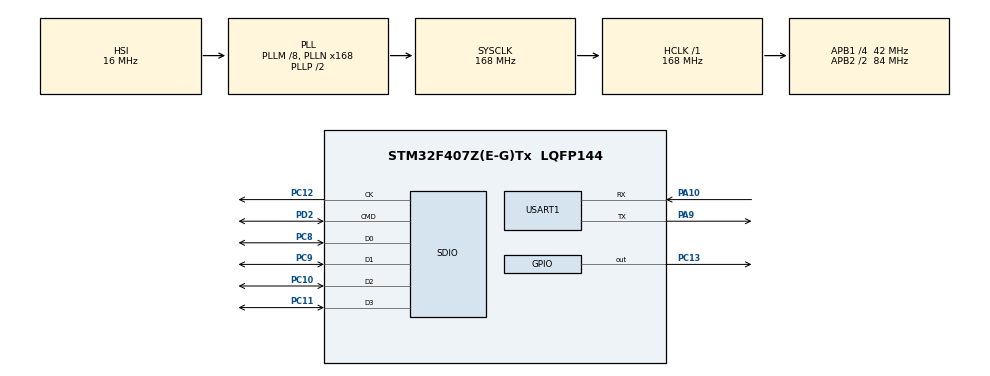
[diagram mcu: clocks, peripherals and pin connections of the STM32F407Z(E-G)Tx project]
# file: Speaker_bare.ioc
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Dma.Request0=USART1_RX
Dma.Request1=USART1_TX
Dma.Request2=SDIO_RX
Dma.Request3=SDIO_TX
Dma.SDIO_RX.2.Direction=DMA_PERIPH_TO_MEMORY
Dma.SDIO_RX.2.FIFOMode=DMA_FIFOMODE_ENABLE
Dma.SDIO_RX.2.FIFOThreshold=DMA_FIFO_THRESHOLD_FULL
Dma.SDIO_RX.2.Instance=DMA2_Stream3
Dma.SDIO_RX.2.MemBurst=DMA_MBURST_INC4
Dma.SDIO_RX.2.MemDataAlignment=DMA_MDATAALIGN_WORD
Dma.SDIO_RX.2.MemInc=DMA_MINC_ENABLE
Dma.SDIO_RX.2.Mode=DMA_PFCTRL
Dma.SDIO_RX.2.PeriphBurst=DMA_PBURST_INC4
Dma.SDIO_RX.2.PeriphDataAlignment=DMA_PDATAALIGN_WORD
Dma.SDIO_RX.2.PeriphInc=DMA_PINC_DISABLE
Dma.SDIO_RX.2.Priority=DMA_PRIORITY_LOW
Dma.SDIO_TX.3.Direction=DMA_MEMORY_TO_PERIPH
Dma.SDIO_TX.3.FIFOMode=DMA_FIFOMODE_ENABLE
Dma.SDIO_TX.3.FIFOThreshold=DMA_FIFO_THRESHOLD_FULL
Dma.SDIO_TX.3.Instance=DMA2_Stream6
Dma.SDIO_TX.3.MemBurst=DMA_MBURST_INC4
Dma.SDIO_TX.3.MemDataAlignment=DMA_MDATAALIGN_WORD
Dma.SDIO_TX.3.MemInc=DMA_MINC_ENABLE
Dma.SDIO_TX.3.Mode=DMA_PFCTRL
Dma.SDIO_TX.3.PeriphBurst=DMA_PBURST_INC4
Dma.SDIO_TX.3.PeriphDataAlignment=DMA_PDATAALIGN_WORD
Dma.SDIO_TX.3.PeriphInc=DMA_PINC_DISABLE
Dma.SDIO_TX.3.Priority=DMA_PRIORITY_LOW
Dma.USART1_RX.0.Direction=DMA_PERIPH_TO_MEMORY
Dma.USART1_RX.0.FIFOMode=DMA_FIFOMODE_DISABLE
Dma.USART1_RX.0.Instance=DMA2_Stream2
Dma.USART1_RX.0.MemDataAlignment=DMA_MDATAALIGN_BYTE
Dma.USART1_RX.0.MemInc=DMA_MINC_ENABLE
Dma.USART1_RX.0.Mode=DMA_NORMAL
Dma.USART1_RX.0.PeriphDataAlignment=DMA_PDATAALIGN_BYTE
Dma.USART1_RX.0.PeriphInc=DMA_PINC_DISABLE
Dma.USART1_RX.0.Priority=DMA_PRIORITY_LOW
Dma.USART1_TX.1.Direction=DMA_MEMORY_TO_PERIPH
Dma.USART1_TX.1.FIFOMode=DMA_FIFOMODE_DISABLE
Dma.USART1_TX.1.Instance=DMA2_Stream7
Dma.USART1_TX.1.MemDataAlignment=DMA_MDATAALIGN_BYTE
Dma.USART1_TX.1.MemInc=DMA_MINC_ENABLE
Dma.USART1_TX.1.Mode=DMA_NORMAL
Dma.USART1_TX.1.PeriphDataAlignment=DMA_PDATAALIGN_BYTE
Dma.USART1_TX.1.PeriphInc=DMA_PINC_DISABLE
Dma.USART1_TX.1.Priority=DMA_PRIORITY_LOW
FATFS.USE_DMA_CODE_SD=1
FATFS._CODE_PAGE=936
FATFS._FS_EXFAT=1
FATFS._USE_LFN=2
Mcu.Family=STM32F4
Mcu.Name=STM32F407Z(E-G)Tx
Mcu.Package=LQFP144
NVIC.DMA2_Stream2_IRQn=true\:0\:0\:false\:false\:true\:false\:true\:true
NVIC.DMA2_Stream3_IRQn=true\:0\:0\:false\:false\:true\:false\:true\:true
NVIC.DMA2_Stream6_IRQn=true\:0\:0\:false\:false\:true\:false\:true\:true
NVIC.DMA2_Stream7_IRQn=true\:0\:0\:false\:false\:true\:false\:true\:true
NVIC.PriorityGroup=NVIC_PRIORITYGROUP_4
NVIC.SDIO_IRQn=true\:0\:0\:false\:false\:true\:true\:true\:true
NVIC.TIM2_IRQn=true\:15\:0\:false\:false\:true\:false\:true\:true
NVIC.TimeBase=TIM2_IRQn
NVIC.TimeBaseIP=TIM2
NVIC.USART1_IRQn=true\:0\:0\:false\:false\:true\:false\:true\:true
PA10.GPIO_PuPd=GPIO_PULLUP
PA10.Mode=Asynchronous
PA10.Signal=USART1_RX
PA13.Mode=JTAG_4_pins
PA13.Signal=SYS_JTMS-SWDIO
PA14.Mode=JTAG_4_pins
PA14.Signal=SYS_JTCK-SWCLK
PA15.Mode=JTAG_4_pins
PA15.Signal=SYS_JTDI
PA9.Mode=Asynchronous
PA9.Signal=USART1_TX
PB3.Mode=JTAG_4_pins
PB3.Signal=SYS_JTDO-SWO
PC10.Mode=SD_4_bits_Wide_bus
PC10.Signal=SDIO_D2
PC11.Mode=SD_4_bits_Wide_bus
PC11.Signal=SDIO_D3
PC12.Mode=SD_4_bits_Wide_bus
PC12.Signal=SDIO_CK
PC13-ANTI_TAMP.Signal=GPIO_Output
PC14-OSC32_IN.Mode=LSE-External-Oscillator
PC14-OSC32_IN.Signal=RCC_OSC32_IN
PC15-OSC32_OUT.Mode=LSE-External-Oscillator
PC15-OSC32_OUT.Signal=RCC_OSC32_OUT
PC8.Mode=SD_4_bits_Wide_bus
PC8.Signal=SDIO_D0
PC9.Mode=SD_4_bits_Wide_bus
PC9.Signal=SDIO_D1
PD2.Mode=SD_4_bits_Wide_bus
PD2.Signal=SDIO_CMD
PH0-OSC_IN.Mode=HSE-External-Oscillator
PH0-OSC_IN.Signal=RCC_OSC_IN
PH1-OSC_OUT.Mode=HSE-External-Oscillator
PH1-OSC_OUT.Signal=RCC_OSC_OUT
ProjectManager.HeapSize=0x2000
ProjectManager.StackSize=0x4000
ProjectManager.TargetToolchain=MDK-ARM V5.32
RCC.48MHZClocksFreq_Value=48000000
RCC.AHBFreq_Value=168000000
RCC.APB1CLKDivider=RCC_HCLK_DIV4
RCC.APB1Freq_Value=42000000
RCC.APB1TimFreq_Value=84000000
RCC.APB2CLKDivider=RCC_HCLK_DIV2
RCC.APB2Freq_Value=84000000
RCC.APB2TimFreq_Value=168000000
RCC.CortexFreq_Value=168000000
RCC.HCLKFreq_Value=168000000
RCC.HSE_VALUE=8000000
RCC.HSI_VALUE=16000000
RCC.PLLM=8
RCC.PLLN=168
RCC.PLLQ=7
RCC.SYSCLKFreq_VALUE=168000000
RCC.SYSCLKSource=RCC_SYSCLKSOURCE_PLLCLK
RCC.VCOOutputFreq_Value=336000000
USART1.VirtualMode=VM_ASYNC
VP_FATFS_VS_SDIO.Mode=SDIO
VP_SYS_VS_tim2.Mode=TIM2
board=custom

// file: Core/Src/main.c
/* USER CODE BEGIN Header */
/**
  ******************************************************************************
  * @file           : main.c
  * @brief          : Main program body
  ******************************************************************************
  * @attention
  *
  * Copyright (c) 2025 STMicroelectronics.
  * All rights reserved.
  *
  * This software is licensed under terms that can be found in the LICENSE file
  * in the root directory of this software component.
  * If no LICENSE file comes with this software, it is provided AS-IS.
  *
  ******************************************************************************
  */
/* USER CODE END Header */
#include "main.h"
#include "dma.h"
#include "fatfs.h"
#include "sdio.h"
#include "usart.h"
#include "gpio.h"

/* USER CODE BEGIN Includes */
#include "stdio.h"
#include "string.h"
#include "lrc.h"
/* USER CODE END Includes */

void SystemClock_Config(void);

/* USER CODE BEGIN 0 */
// SD卡的FatFS文件系统挂载、格式化、读写测试
void FatFsTest(void)
{
    static FATFS myFatFs;                                                 // FatFs 文件系统对象; 这个结构体占用598字节，有点大，需用static修饰(存放在全局数据区), 避免stack溢出
    static FIL myFile;                                                    // 文件对象; 这个结构体占用570字节，有点大，需用static修饰(存放在全局数据区), 避免stack溢出
    static FRESULT f_res;                                                 // 文件操作结果
    static uint32_t num;                                                  // 文件实际成功读写的字节数
    static uint8_t aReadData[1024] = {0};                                 // 读取缓冲区; 这个数组占用1024字节，需用static修饰(存放在全局数据区), 避免stack溢出
    static uint8_t aWriteBuf[] =  "Test, this is FatFs Test ! \r\n";      // 要写入的数据

    // 重要的延时：避免烧录期间的复位导致文件读写、格式化等错误
    HAL_Delay(1000);                                                      // 重要：稍作延时再开始读写测试; 避免有些仿真器烧录期间的多次复位，短暂运行了程序，导致下列读写数据不完整。

    // 1、挂载测试：在SD卡挂载文件系统
    printf("\r\n\r\n");
    printf("1、Load FatFs test ****** \r\n");
    f_res = f_mount(&myFatFs, "0:", 1);                                   // 在SD卡上挂载文件系统; 参数：文件系统对象、驱动器路径、读写模式(0只读、1读写)
    if (f_res == FR_NO_FILESYSTEM)                                        // 检查是否已有文件系统，如果没有，就格式化创建创建文件系统
    {
        printf("The SD card has no file system,Strating to format......\r\n");
        static uint8_t aMountBuffer[4096];                                // 格式化时所需的临时缓存; 块大小512的倍数; 值越大格式化越快, 如果内存不够，可改为512或者1024; 当需要在函数内定义这种大缓存时，要用static修饰，令缓存存放在全局数据区内，不然，可能会导致stack溢出。
        f_res = f_mkfs("0:", 0, 0, aMountBuffer, sizeof(aMountBuffer));   // 格式化SD卡; 参数：驱动器、文件系统(0-自动\1-FAT12\2-FAT16\3-FAT32\4-exFat)、簇大小(0为自动选择)、格式化临时缓冲区、缓冲区大小; 格式化前必须先f_mount(x,x,1)挂载，即必须用读写方式挂载; 如果SD卡已格式化，f_mkfs()的第2个参数，不能用0自动，必须指定某个文件系统。
        if (f_res == FR_OK)                                               // 格式化 成功
        {
            printf("SD card format: success \r\n");
            f_res = f_mount(NULL, "0:", 1);                               // 格式化后，先取消挂载
            f_res = f_mount(&myFatFs, "0:", 1);                           // 重新挂载
            if (f_res == FR_OK)
                printf("FatFs load success \r\n");                            // 挂载成功
            else
                return;                                                   // 挂载失败，退出函数
        }
        else
        {
            printf("SD card format: failed \r\n");                              // 格式化 失败
            return;
        }
    }
    else if (f_res != FR_OK)                                              // 挂载异常
    {
        printf("FatFs 挂载异常: %d; Check if MX_SDIO_SD_Init() has beed change to 1B是否已修改1B\r", f_res);
        return;
    }
    else                                                                  // 挂载成功
    {
        if (myFatFs.fs_type == 0x03)                                      // FAT32; 1-FAT12、2-FAT16、3-FAT32、4-exFat
            printf("SD card has file system卡已有文件系统: FAT32\n");
        if (myFatFs.fs_type == 0x04)                                      // exFAT; 1-FAT12、2-FAT16、3-FAT32、4-exFat
            printf("SD卡已有文件系统: exFAT\n");
        printf("FatFs 挂载成功 \r\n");                                    // 挂载成功
    }

    // 2、写入测试：打开或创建文件，并写入数据
    printf("\r\n");
    printf("2:打开或创建文件,并写入数据 ****** \r\n");
    f_res = f_open(&myFile, "0:text.txt", FA_CREATE_ALWAYS | FA_WRITE);   // 打开文件; 参数：要操作的文件对象、路径和文件名称、打开模式;
    if (f_res == FR_OK)
    {
        printf("打开文件 成功 \r\n");
        printf("写入测试:");
        f_res = f_write(&myFile, aWriteBuf, sizeof(aWriteBuf), &num);     // 向文件内写入数据; 参数：文件对象、数据缓存、申请写入的字节数、实际写入的字节数
        if (f_res == FR_OK)
        {
            printf("写入成功  \r\n");
            printf("已写入字节数: %d \r\n", num);                         // printf 写入的字节数
            printf("已写入的数据: %s \r\n", aWriteBuf);                   // printf 写入的数据; 注意，这里以字符串方式显示，如果数据是非ASCII可显示范围，则无法显示
        }
        else
        {
            printf("写入失败 \r\n");                                      // 写入失败
            printf("Error code: %d\r\n", f_res);                           // printf 错误编号
        }
        f_close(&myFile);                                                 // 不再读写，关闭文件
    }
    else
    {
        printf("Open file fail: %d\r\n", f_res);
    }

    // 3、读取测试：打开已有文件，读取其数据
    printf("3、读取测试: 打开刚才的文件，读取其数据 ****** \r\n");
    f_res = f_open(&myFile, "0:text.txt", FA_OPEN_EXISTING | FA_READ);    // 打开文件; 参数：文件对象、路径和名称、操作模式; FA_OPEN_EXISTING：只打开已存在的文件; FA_READ: 以只读的方式打开文件
    if (f_res == FR_OK)
    {
        printf("打开文件 成功 \r\n");
        f_res = f_read(&myFile, aReadData, sizeof(aReadData), &num);      // 从文件中读取数据; 参数：文件对象、数据缓冲区、请求读取的最大字节数、实际读取的字节数
        if (f_res == FR_OK)
        {
            printf("读取数据 成功 \r\n");
            printf("已读取字节数: %d \r\n", num);                         // printf 实际读取的字节数
            printf("读取到的数据: %s\r\n", aReadData);                    // printf 实际数据; 注意，这里以字符串方式显示，如果数据是非ASCII可显示范围，则无法显示
        }
        else
        {
            printf("读取 失败  \r\n");                                    // printf 读取失败
            printf("错误编号：%d \r\n", f_res);                           // printf 错误编号
        }
    }
    else
    {
        printf("打开文件 失败 \r\n");                                     // printf 打开文件 失败
        printf("错误编号: %d\r\n", f_res);                                // printf 错误编号
    }

    f_close(&myFile);                                                     // 不再读写，关闭文件
    f_mount(NULL, "0:", 1);                                               // 不再使用文件系统，取消挂载文件系统
}

// 获取SD卡信息
// 注意: 本函数需要在f_mount()执行后再调用，因为CubeMX生成的FatFs代码, 会在f_mount()函数内对SD卡进行初始化
void SDCardInfo(void)
{
    HAL_SD_CardInfoTypeDef pCardInfo = {0};                    // SD卡信息结构体
    uint8_t status = HAL_SD_GetCardState(&hsd);                // SD卡状态标志值
    if (status == HAL_SD_CARD_TRANSFER)
    {
        HAL_SD_GetCardInfo(&hsd, &pCardInfo);                  // 获取 SD 卡的信息
        printf("\r\n");
        printf("*** 获取SD卡信息 *** \r\n");
        printf("卡类型: %d \r\n", pCardInfo.CardType);         // 类型返回：0-SDSC、1-SDHC/SDXC、3-SECURED
        printf("卡版本: %d \r\n", pCardInfo.CardVersion);      // 版本返回：0-CARD_V1、1-CARD_V2
        printf("块数量: %d \r\n", pCardInfo.BlockNbr);         // 可用的块数量
        printf("块大小: %d \r\n", pCardInfo.BlockSize);        // 每个块的大小; 单位：字节
        printf("卡容量: %lluG \r\n", ((uint64_t)pCardInfo.BlockSize * pCardInfo.BlockNbr) / 1024 / 1024 / 1024);  // 计算卡的容量; 单位：GB
    }
}

/* USER CODE END 0 */

int main(void)
{

  /* MCU Configuration--------------------------------------------------------*/

  /* Reset of all peripherals, Initializes the Flash interface and the Systick. */
  HAL_Init();

  /* Configure the system clock */
  SystemClock_Config();

  /* Initialize all configured peripherals */
  MX_GPIO_Init();
  MX_DMA_Init();
  MX_USART1_UART_Init();
  MX_SDIO_SD_Init();
  MX_FATFS_Init();
  /* USER CODE BEGIN 2 */
  FatFsTest();      // FatFs文件系统挂载、格式化、读写测试
  SDCardInfo();    // 获取SD卡信息                                              // FatFs 文件系统对象; 这个结构体占用598字节，有点大，需用static修饰(存放在全局数据区), 避免stack溢出

  FRESULT res;
  res = LRC_Read_Parse("0:程艾影-赵雷.lrc"); // 读取并解析LRC歌词文件
  if (res == FR_OK)
    {
        printf("LRC Parse (No Callback) Success!\r\n");
    }
    else
    {
        printf("LRC Parse Fail! Error code: %d\r\n", res);
    }

  /* USER CODE END 2 */

  /* Infinite loop */
  while (1)
  {
    HAL_GPIO_TogglePin(GPIOC, GPIO_PIN_13); // 切换PC13引脚状态
    // printf("System running...\r\n");
    HAL_Delay(500); // 延时500毫秒
  }
}

void SystemClock_Config(void)
{
  RCC_OscInitTypeDef RCC_OscInitStruct = {0};
  RCC_ClkInitTypeDef RCC_ClkInitStruct = {0};

  /** Configure the main internal regulator output voltage
  */
  __HAL_RCC_PWR_CLK_ENABLE();
  __HAL_PWR_VOLTAGESCALING_CONFIG(PWR_REGULATOR_VOLTAGE_SCALE1);

  /** Initializes the RCC Oscillators according to the specified parameters
  * in the RCC_OscInitTypeDef structure.
  */
  RCC_OscInitStruct.OscillatorType = RCC_OSCILLATORTYPE_HSI;
  RCC_OscInitStruct.HSIState = RCC_HSI_ON;
  RCC_OscInitStruct.HSICalibrationValue = RCC_HSICALIBRATION_DEFAULT;
  RCC_OscInitStruct.PLL.PLLState = RCC_PLL_ON;
  RCC_OscInitStruct.PLL.PLLSource = RCC_PLLSOURCE_HSI;
  RCC_OscInitStruct.PLL.PLLM = 8;
  RCC_OscInitStruct.PLL.PLLN = 168;
  RCC_OscInitStruct.PLL.PLLP = RCC_PLLP_DIV2;
  RCC_OscInitStruct.PLL.PLLQ = 7;
  if (HAL_RCC_OscConfig(&RCC_OscInitStruct) != HAL_OK)
  {
    Error_Handler();
  }

  /** Initializes the CPU, AHB and APB buses clocks
  */
  RCC_ClkInitStruct.ClockType = RCC_CLOCKTYPE_HCLK|RCC_CLOCKTYPE_SYSCLK
                              |RCC_CLOCKTYPE_PCLK1|RCC_CLOCKTYPE_PCLK2;
  RCC_ClkInitStruct.SYSCLKSource = RCC_SYSCLKSOURCE_PLLCLK;
  RCC_ClkInitStruct.AHBCLKDivider = RCC_SYSCLK_DIV1;
  RCC_ClkInitStruct.APB1CLKDivider = RCC_HCLK_DIV4;
  RCC_ClkInitStruct.APB2CLKDivider = RCC_HCLK_DIV2;

  if (HAL_RCC_ClockConfig(&RCC_ClkInitStruct, FLASH_LATENCY_5) != HAL_OK)
  {
    Error_Handler();
  }
}

void HAL_TIM_PeriodElapsedCallback(TIM_HandleTypeDef *htim)
{
  if (htim->Instance == TIM2) {
    HAL_IncTick();
  }
}

void Error_Handler(void)
{
  __disable_irq();
  while (1)
  {
  }
}
